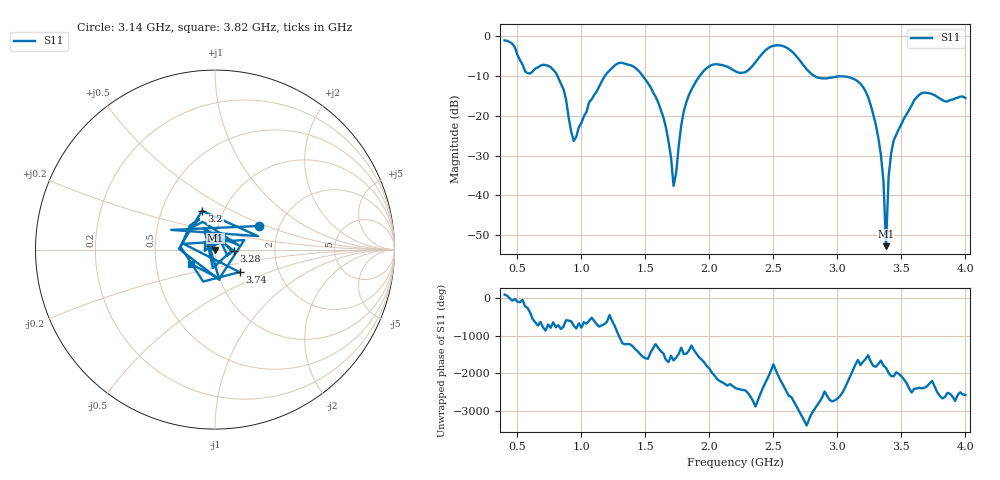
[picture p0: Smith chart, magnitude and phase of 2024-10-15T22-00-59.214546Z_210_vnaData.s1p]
! Created with skrf (http://scikit-rf.org).
# Hz S RI R 50.0
!freq ReS11 ImS11
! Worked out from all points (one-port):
!   181 points, 400 MHz to 4 GHz, reference 50 ohm
!   lowest |S11| = -52.7 dB at 3.38 GHz (marker M1), VSWR 1.00, Z = 50.1 - j0.187 ohm
!   |S11| at or under -10 dB: 811.1 MHz to 1.186 GHz (374.8 MHz wide, 37.5 % of centre); 1.478 GHz to 1.927 GHz (449.3 MHz wide, 26.4 % of centre); 2.815 GHz to end of sweep
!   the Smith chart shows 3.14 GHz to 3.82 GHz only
!   S11 on the Smith chart (normalised r, x): 3.14 GHz: 1.58, +0.45; 3.2 GHz: 0.79, +0.36; 3.28 GHz: 1.23, -0.02; 3.74 GHz: 1.27, -0.33; 3.82 GHz: 0.76, -0.13
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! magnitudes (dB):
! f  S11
! 400 MHz  -1.2
! 560 MHz  -8.9
! 740 MHz  -7.6
! 860 MHz  -13.4
! 940 MHz  -26.4
! 1.3 GHz  -6.8
! 1.6 GHz  -16.7
! 1.68 GHz  -26.4
! 1.72 GHz  -37.6
! 1.76 GHz  -27.7
! 1.82 GHz  -16.7
! 1.92 GHz  -10.3
! 2.2 GHz  -8.9
! 2.5 GHz  -2.5
! 2.66 GHz  -4.5
! 2.84 GHz  -10.4
! 3.1 GHz  -10.5
! 3.14 GHz  -11.0
! 3.2 GHz  -12.8
! 3.28 GHz  -19.7
! 3.36 GHz  -36.4
! 3.38 GHz  -52.7
! 3.4 GHz  -35.3
! 3.42 GHz  -29.4
! 3.56 GHz  -18.6
! 3.74 GHz  -14.6
! 3.82 GHz  -16.1
! 4 GHz  -15.6
